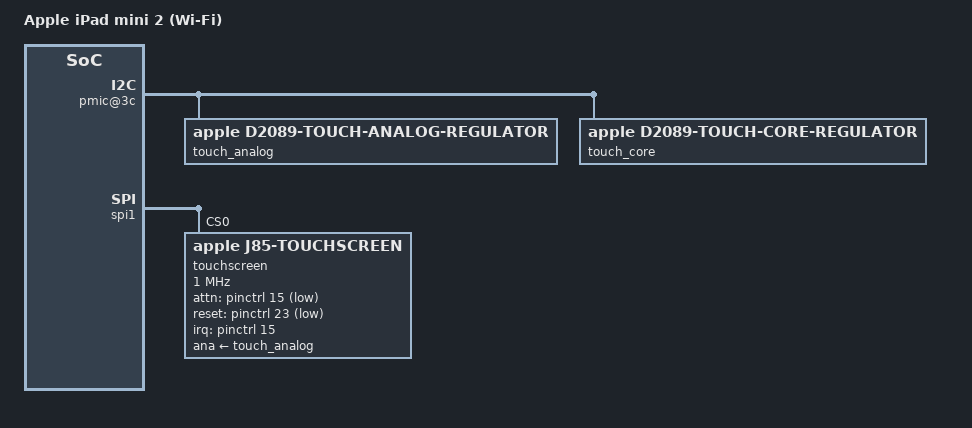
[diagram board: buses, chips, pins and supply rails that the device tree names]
// SPDX-License-Identifier: GPL-2.0+ OR MIT
/*
 * Apple iPad mini 2 (Wi-Fi), J85, iPad4,4 (A1489)
 * Copyright (c) 2022, Konrad Dybcio <konradybcio@kernel.org>
 */

/dts-v1/;

#include "s5l8960x-mini2.dtsi"

/ {
	compatible = "apple,j85", "apple,s5l8960x", "apple,arm-platform";
	model = "Apple iPad mini 2 (Wi-Fi)";

	aliases {
		touchscreen0 = &touchscreen; /* Used by loader */
	};
};

&pinctrl {
	spi1_sleep_pins: spi1-sleep-pins {
		pinmux = <APPLE_PINMUX(71, 0)>;
	};

	touch_sync_active: touch-sync-active-pins {
		pinmux = <APPLE_PINMUX(119, 1)>;
	};

	touch_sync_inactive: touch-sync-inactive-pins {
		pinmux = <APPLE_PINMUX(119, 0)>;
	};
};

&{/soc/i2c@20a110000/pmic@3c} {
	touch_analog: regulator-touch-analog {
		compatible = "apple,d2089-touch-analog-regulator";
		regulator-name = "touch-analog";
	};

	/* The N1 runtime switches only the analog supply; keep the LDO on. */
	touch_core: regulator-touch-core {
		compatible = "apple,d2089-touch-core-regulator";
		regulator-name = "touch-core";
		regulator-always-on;
	};
};

&touchclk {
	status = "okay";
};

&spi1 {
	pinctrl-names = "default", "sleep";
	pinctrl-1 = <&spi1_sleep_pins>;
	status = "okay";

	touchscreen: touchscreen@0 {
		compatible = "apple,j85-touchscreen";
		reg = <0>;
		spi-max-frequency = <1000000>;
		interrupt-parent = <&pinctrl>;
		interrupts = <15 IRQ_TYPE_EDGE_FALLING>;
		attn-gpios = <&pinctrl 15 GPIO_ACTIVE_LOW>;
		reset-gpios = <&pinctrl 23 GPIO_ACTIVE_LOW>;
		clocks = <&touchclk>;
		ana-supply = <&touch_analog>;
		pinctrl-names = "display-sync-active", "display-sync-inactive";
		pinctrl-0 = <&touch_sync_active>;
		pinctrl-1 = <&touch_sync_inactive>;
		touchscreen-size-x = <1536>;
		touchscreen-size-y = <2048>;
		touchscreen-inverted-y;
		firmware-name = "apple/j85-fwstart.z2fw";
		/* apple,z2-cal-blob: the unit's calibration, filled in by the loader */
	};
};
